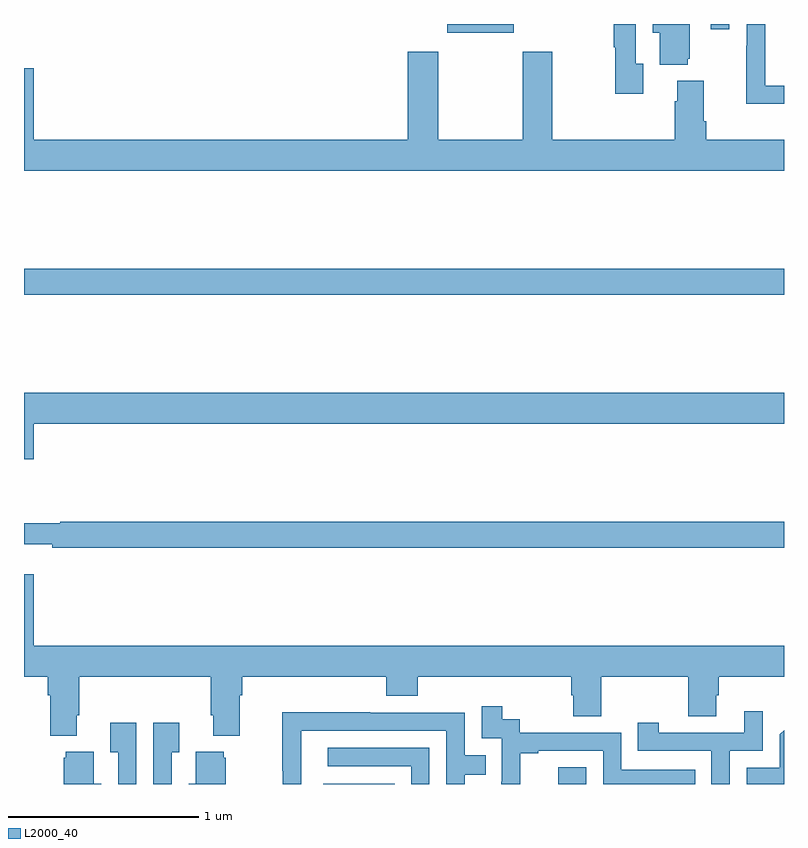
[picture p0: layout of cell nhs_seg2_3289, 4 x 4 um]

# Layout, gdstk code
import gdstk
lib = gdstk.Library(unit=1e-6, precision=1e-09)
def R(c, l, rs):  # rectangles x0, y0, x1, y1
    for r in rs: c.add(gdstk.rectangle(r[:2], r[2:], *l))
def P(c, l, *ps):  # polygons
    for p in ps: c.add(gdstk.Polygon(p, *l))
L2000_40 = (2000, 40)

nhs_seg2_3289 = lib.new_cell('nhs_seg2_3289')
R(nhs_seg2_3289, L2000_40, [(286.574,585.8,286.952,585.802), (287.811,585.8,287.958,585.889), (285,588.376,289,588.512), (287.228,589.754,287.578,589.8), (288.615,589.773,288.711,589.8)])
P(nhs_seg2_3289, L2000_40, [(288.259,589.59),(288.219,589.59),(288.219,589.8),(288.103,589.8),(288.103,589.678),(288.111,589.678),(288.111,589.434),(288.259,589.434)],
  [(288.494,589.617),(288.505,589.617),(288.505,589.8),(288.308,589.8),(288.308,589.754),(288.347,589.754),(288.347,589.586),(288.494,589.586)],
  [(289,589.476),(288.9,589.476),(288.9,589.8),(288.804,589.8),(288.804,589.685),(288.802,589.685),(288.802,589.379),(289,589.379)],
  [(289,589.192),(288.59,589.192),(288.59,589.288),(288.577,589.288),(288.577,589.501),(288.437,589.501),(288.437,589.394),(288.425,589.394),(288.425,589.192),(287.781,589.192),(287.781,589.654),(287.626,589.654),(287.626,589.192),(287.181,589.192),(287.181,589.654),(287.021,589.654),(287.021,589.192),(285.052,589.192),(285.052,589.567),(285,589.567),(285,589.028),(289,589.028)],
  [(285.052,587.696),(289,587.696),(289,587.86),(285,587.86),(285,587.508),(285.052,587.508)],
  [(289,587.18),(285.19,587.18),(285.19,587.173),(285,587.173),(285,587.063),(285.148,587.063),(285.148,587.044),(289,587.044)],
  [(285.277,586.162),(285.29,586.162),(285.29,586.364),(285.983,586.364),(285.983,586.162),(285.995,586.162),(285.995,586.055),(286.135,586.055),(286.135,586.268),(286.148,586.268),(286.148,586.364),(286.907,586.364),(286.907,586.265),(287.072,586.265),(287.072,586.364),(287.879,586.364),(287.879,586.266),(287.891,586.266),(287.891,586.156),(288.039,586.156),(288.039,586.364),(288.496,586.364),(288.496,586.156),(288.643,586.156),(288.643,586.266),(288.656,586.266),(288.656,586.364),(289,586.364),(289,586.528),(285.052,586.528),(285.052,586.903),(285,586.903),(285,586.364),(285.125,586.364),(285.125,586.268),(285.137,586.268),(285.137,586.055),(285.277,586.055)],
  [(287.612,585.963),(287.707,585.963),(287.707,585.975),(288.048,585.975),(288.048,585.8),(288.533,585.8),(288.533,585.876),(288.144,585.876),(288.144,586.071),(287.61,586.071),(287.61,586.14),(287.518,586.14),(287.518,586.21),(287.409,586.21),(287.409,586.041),(287.514,586.041),(287.514,585.812),(287.513,585.812),(287.513,585.8),(287.612,585.8)],
  [(288.714,585.975),(288.888,585.975),(288.888,586.183),(288.791,586.183),(288.791,586.071),(288.34,586.071),(288.34,586.123),(288.229,586.123),(288.229,585.975),(288.618,585.975),(288.618,585.8),(288.714,585.8)],
  [(286.458,586.08),(287.223,586.08),(287.223,585.8),(287.319,585.8),(287.319,585.85),(287.429,585.85),(287.429,585.951),(287.319,585.951),(287.319,586.176),(286.823,586.176),(286.823,586.178),(286.36,586.178),(286.36,585.871),(286.362,585.871),(286.362,585.8),(286.458,585.8)],
  [(285.777,585.967),(285.817,585.967),(285.817,586.123),(285.681,586.123),(285.681,585.8),(285.777,585.8)],
  [(285.591,586.123),(285.455,586.123),(285.455,585.967),(285.495,585.967),(285.495,585.8),(285.591,585.8)],
  [(289,586.084),(288.978,586.062),(288.978,585.885),(288.804,585.885),(288.804,585.8),(289,585.8)],
  [(287.133,585.99),(286.599,585.99),(286.599,585.894),(287.037,585.894),(287.037,585.8),(287.133,585.8)],
  [(285.406,585.802),(285.367,585.802),(285.367,585.97),(285.221,585.97),(285.221,585.939),(285.209,585.939),(285.209,585.8),(285.406,585.8)],
  [(286.063,585.939),(286.052,585.939),(286.052,585.97),(285.905,585.97),(285.905,585.802),(285.866,585.802),(285.866,585.8),(286.063,585.8)])

lib.write_gds('nhs_seg2_3289.gds')
